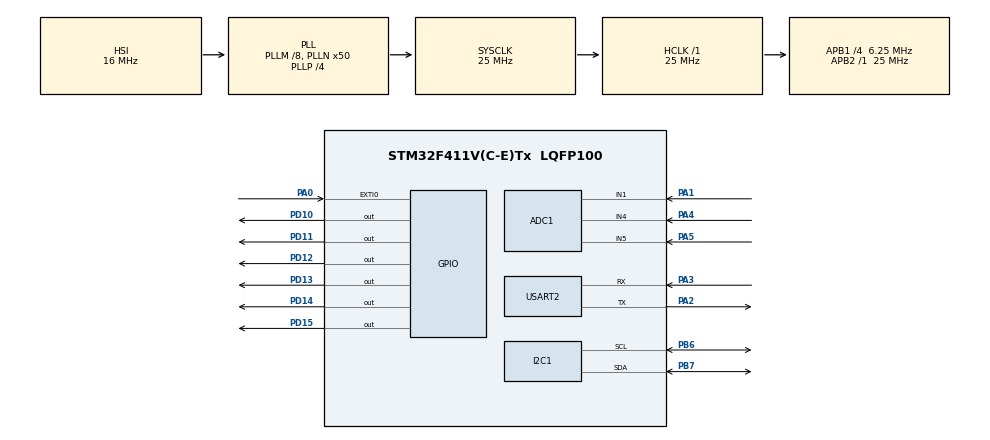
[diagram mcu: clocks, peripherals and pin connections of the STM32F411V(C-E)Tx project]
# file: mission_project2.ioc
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ADC1.Channel-0\#ChannelRegularConversion=ADC_CHANNEL_5
ADC1.Channel-2\#ChannelRegularConversion=ADC_CHANNEL_1
ADC1.Channel-3\#ChannelRegularConversion=ADC_CHANNEL_4
ADC1.ContinuousConvMode=ENABLE
ADC1.NbrOfConversion=3
ADC1.NbrOfConversionFlag=1
ADC1.Rank-0\#ChannelRegularConversion=1
ADC1.Rank-2\#ChannelRegularConversion=2
ADC1.Rank-3\#ChannelRegularConversion=3
ADC1.SamplingTime-0\#ChannelRegularConversion=ADC_SAMPLETIME_3CYCLES
ADC1.SamplingTime-2\#ChannelRegularConversion=ADC_SAMPLETIME_3CYCLES
ADC1.SamplingTime-3\#ChannelRegularConversion=ADC_SAMPLETIME_3CYCLES
ADC1.ScanConvMode=ENABLE
ADC1.master=1
Mcu.Family=STM32F4
Mcu.Name=STM32F411V(C-E)Tx
Mcu.Package=LQFP100
NVIC.EXTI0_IRQn=true\:0\:0\:true\:false\:true\:true\:true\:true
NVIC.PriorityGroup=NVIC_PRIORITYGROUP_0
NVIC.USART2_IRQn=true\:0\:0\:false\:false\:true\:true\:true\:true
PA0-WKUP.GPIO_ModeDefaultEXTI=GPIO_MODE_IT_FALLING
PA0-WKUP.Signal=GPXTI0
PA1.Signal=ADCx_IN1
PA2.Mode=Asynchronous
PA2.Signal=USART2_TX
PA3.Mode=Asynchronous
PA3.Signal=USART2_RX
PA4.Signal=ADCx_IN4
PA5.Signal=ADCx_IN5
PB6.Mode=I2C
PB6.Signal=I2C1_SCL
PB7.Mode=I2C
PB7.Signal=I2C1_SDA
PD10.Signal=GPIO_Output
PD11.Signal=GPIO_Output
PD12.Signal=GPIO_Output
PD13.Signal=GPIO_Output
PD14.Signal=GPIO_Output
PD15.Signal=GPIO_Output
PH0\ -\ OSC_IN.Mode=HSE-External-Oscillator
PH0\ -\ OSC_IN.Signal=RCC_OSC_IN
PH1\ -\ OSC_OUT.Mode=HSE-External-Oscillator
PH1\ -\ OSC_OUT.Signal=RCC_OSC_OUT
ProjectManager.HeapSize=0x200
ProjectManager.StackSize=0x400
ProjectManager.TargetToolchain=STM32CubeIDE
RCC.48MHZClocksFreq_Value=12500000
RCC.AHBFreq_Value=25000000
RCC.APB1CLKDivider=RCC_HCLK_DIV4
RCC.APB1Freq_Value=6250000
RCC.APB1TimFreq_Value=12500000
RCC.APB2Freq_Value=25000000
RCC.APB2TimFreq_Value=25000000
RCC.CortexFreq_Value=25000000
RCC.HCLKFreq_Value=25000000
RCC.HSE_VALUE=8000000
RCC.HSI_VALUE=16000000
RCC.LSE_VALUE=32768
RCC.PLLI2SM=5
RCC.PLLI2SN=200
RCC.PLLM=8
RCC.PLLN=50
RCC.PLLP=RCC_PLLP_DIV4
RCC.PLLQ=8
RCC.SYSCLKFreq_VALUE=25000000
RCC.SYSCLKSource=RCC_SYSCLKSOURCE_PLLCLK
RCC.VCOOutputFreq_Value=100000000
SH.ADCx_IN1.0=ADC1_IN1,IN1
SH.ADCx_IN4.0=ADC1_IN4,IN4
SH.ADCx_IN5.0=ADC1_IN5,IN5
USART2.VirtualMode=VM_ASYNC
board=STM32F411E-DISCO

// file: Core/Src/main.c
/* USER CODE BEGIN Header */
/**
  ******************************************************************************
  * @file           : main.c
  * @brief          : Main program body
  ******************************************************************************
  * @attention
  *
  * Copyright (c) 2025 STMicroelectronics.
  * All rights reserved.
  *
  * This software is licensed under terms that can be found in the LICENSE file
  * in the root directory of this software component.
  * If no LICENSE file comes with this software, it is provided AS-IS.
  *
  ******************************************************************************
  */
/* USER CODE END Header */
#include "main.h"
#include "adc.h"
#include "i2c.h"
#include "usart.h"
#include "gpio.h"

/* USER CODE BEGIN Includes */
#include "stdio.h"
#include <stdlib.h>  // Pour atoi()
#include <string.h>
#include "bmp280.h"
#include "i2c_lcd.h"

I2C_LCD_HandleTypeDef lcd1;
/* USER CODE END Includes */

/* USER CODE BEGIN PTD */
int __io_putchar(int ch)
{
    HAL_UART_Transmit(&huart2, (uint8_t *)&ch, 1, HAL_MAX_DELAY);
    return ch;
}

void init_lcds(void) {
	lcd1.hi2c = &hi2c1;     // hi2c1 is your I2C handler
	lcd1.address = 0x27 << 1;    // I2C address for the first LCD
	lcd_init(&lcd1);        // Initialize the first LCD
}

uint32_t adc_read_channel(uint32_t chanel)
{
  /*get the adc hundel*/
  ADC_HandleTypeDef *hadc1 = get_adc_hundle();
  uint32_t adc_value;

  /*select channel manualy without scan mode*/
  ADC_ChannelConfTypeDef sConfig = {0};
  sConfig.Channel = chanel;
  sConfig.Rank = 1;
  sConfig.SamplingTime = ADC_SAMPLETIME_3CYCLES;
  if (HAL_ADC_ConfigChannel(hadc1, &sConfig) != HAL_OK)
  {
    Error_Handler();
  }

  /*start the adc*/
  if (HAL_ADC_Start(hadc1) != HAL_OK)
  {
    Error_Handler();
  }
	if (HAL_ADC_PollForConversion(hadc1, HAL_MAX_DELAY) == HAL_OK)
	{
	  adc_value = HAL_ADC_GetValue(hadc1);  // Read value
	  // For debugging, you can output this via UART or LED logic
	}
  else
  {
    Error_Handler();
  }
  HAL_ADC_Stop(hadc1);
  return adc_value;
}
const char* is_gaz_f(uint8_t gaz)
{
    if (gaz == 0)
    {
        return "No gaz detected";
    }
    else
    {
        return "Gaz detected";
    }
}

const char* is_flame_f(uint8_t flame)
{
    if (flame == 0)
    {
        return "No flame detected";
    }
    else
    {
        return "Flame detected";
    }
}
uint8_t lcd_select = 0;

void HAL_GPIO_EXTI_Callback(uint16_t GPIO_Pin)
{
	lcd_select++;
}

static void EXTILine0_Config(void)
{
  GPIO_InitTypeDef   GPIO_InitStructure;

  /* Enable GPIOA clock */
  __HAL_RCC_GPIOA_CLK_ENABLE();

  /* Configure PA0 pin as input floating */
  GPIO_InitStructure.Mode = GPIO_MODE_IT_FALLING;
  GPIO_InitStructure.Pull = GPIO_NOPULL;
  GPIO_InitStructure.Pin = GPIO_PIN_0;
  HAL_GPIO_Init(GPIOA, &GPIO_InitStructure);

  /* Enable and set EXTI Line0 Interrupt to the lowest priority */
  HAL_NVIC_SetPriority(EXTI0_IRQn, 2, 0);
  HAL_NVIC_EnableIRQ(EXTI0_IRQn);
}

#define RX_BUF_SIZE 16

uint8_t  uart_byte;                       // pour réception 1 octet
uint8_t  uart_rx_buffer[RX_BUF_SIZE];     // buffer de reconstruction
uint8_t  rx_index = 0;
uint32_t co2 = 0;

void HAL_UART_RxCpltCallback(UART_HandleTypeDef *huart)
{
    if (huart->Instance == USART2)
    {
        // Stocke l'octet et avance l'index
        uart_rx_buffer[rx_index++] = uart_byte;

        // Si fin de trame (\n) ou buffer plein :
        if (uart_byte == '\n' || rx_index >= RX_BUF_SIZE-1)
        {
            uart_rx_buffer[rx_index] = '\0';   // termine la chaîne
            co2 = atoi((char*)uart_rx_buffer); // convertit

            // vidage pour prochaine réception
            rx_index = 0;
            memset(uart_rx_buffer, 0, RX_BUF_SIZE);

            // indication visuelle
            HAL_GPIO_TogglePin(GPIOD, GPIO_PIN_12);
        }

        // Relance toujours la réception d’1 octet
        HAL_UART_Receive_IT(&huart2, &uart_byte, 1);
    }
}
BMP280_HandleTypedef bmp280;

float pressure, temperature, humidity;

uint8_t is_gaz = 0;
uint8_t is_flame = 0;
uint8_t button = 0;

/* USER CODE END PTD */

void SystemClock_Config(void);

int main(void)
{

  /* MCU Configuration--------------------------------------------------------*/

  /* Reset of all peripherals, Initializes the Flash interface and the Systick. */
  HAL_Init();

  /* Configure the system clock */
  SystemClock_Config();

  /* Initialize all configured peripherals */
  MX_GPIO_Init();
  MX_ADC1_Init();
  MX_USART2_UART_Init();
  MX_I2C1_Init();
  /* USER CODE BEGIN 2 */
  init_lcds();
  lcd_clear(&lcd1);

  uint32_t gaz_adc_value = 0;
  uint32_t flame_adc_value = 0;
	bmp280_init_default_params(&bmp280.params);
	bmp280.addr = BMP280_I2C_ADDRESS_0;
	bmp280.i2c = &hi2c1;

  	if (!bmp280_init(&bmp280, &bmp280.params))
  	{
  		Error_Handler();
		HAL_Delay(2000);
	}
	bool bme280p = bmp280.id == BME280_CHIP_ID;

	printf("BMP280: found %s\n", bme280p ? "BME280" : "BMP280");
	EXTILine0_Config();
	// Lancement de la 1ʳᵉ réception 1 octet
	HAL_UART_Receive_IT(&huart2, &uart_byte, 1);

  /* USER CODE END 2 */

  /* Infinite loop */
  /* USER CODE BEGIN WHILE */
  while (1)
  {

  gaz_adc_value = adc_read_channel(ADC_CHANNEL_4);
  flame_adc_value = adc_read_channel(ADC_CHANNEL_1);

	while (!bmp280_read_float(&bmp280, &temperature, &pressure, &humidity))
	{
		printf("Temperature/pressure reading failed\n");
		HAL_Delay(2000);
	}
	if(gaz_adc_value > 1000)
	{

		HAL_GPIO_WritePin(GPIOD, GPIO_PIN_15, GPIO_PIN_SET);
		is_gaz = 1;
	}
	else
	{
		HAL_GPIO_WritePin(GPIOD, GPIO_PIN_15, GPIO_PIN_RESET);
		is_gaz = 0;
	}

	if(flame_adc_value < 1000)
	{
		HAL_GPIO_WritePin(GPIOD, GPIO_PIN_13, GPIO_PIN_SET);
		is_flame = 1;
	}
	else
	{
		HAL_GPIO_WritePin(GPIOD, GPIO_PIN_13, GPIO_PIN_RESET);
		is_flame = 0;
	}

	switch (lcd_select)
	{
	    case 1:
			LCD_PrintfAt(&lcd1,0, 0,"pres %.2f hpa",pressure/100);
			LCD_PrintfAt(&lcd1,0, 1,"temp %.2f C",temperature);
	        break;
	    case 0:
			LCD_PrintfAt(&lcd1,0, 0,"hum %.2f\%",humidity);
			LCD_PrintfAt(&lcd1,0, 1,"CO2 %d ppm",co2);
	        break;
	    case 2:
			LCD_PrintfAt(&lcd1,0, 0,is_gaz_f(is_gaz));
			LCD_PrintfAt(&lcd1,0, 1,is_flame_f(is_flame));
	        break;

	    default:
	    	lcd_select = 0;
	}

   printf("{\"pressure\": %.2f, \"temperature\": %.2f, \"humidity\": %.2f, \"gaz\": %u, \"flame\": %u}\n",
	       pressure/100.0, temperature, humidity, is_gaz, is_flame);

	HAL_Delay(1000);
	lcd_clear(&lcd1);

    /* USER CODE END WHILE */

  }
}

void SystemClock_Config(void)
{
  RCC_OscInitTypeDef RCC_OscInitStruct = {0};
  RCC_ClkInitTypeDef RCC_ClkInitStruct = {0};

  /** Configure the main internal regulator output voltage
  */
  __HAL_RCC_PWR_CLK_ENABLE();
  __HAL_PWR_VOLTAGESCALING_CONFIG(PWR_REGULATOR_VOLTAGE_SCALE1);

  /** Initializes the RCC Oscillators according to the specified parameters
  * in the RCC_OscInitTypeDef structure.
  */
  RCC_OscInitStruct.OscillatorType = RCC_OSCILLATORTYPE_HSI;
  RCC_OscInitStruct.HSIState = RCC_HSI_ON;
  RCC_OscInitStruct.HSICalibrationValue = RCC_HSICALIBRATION_DEFAULT;
  RCC_OscInitStruct.PLL.PLLState = RCC_PLL_ON;
  RCC_OscInitStruct.PLL.PLLSource = RCC_PLLSOURCE_HSI;
  RCC_OscInitStruct.PLL.PLLM = 8;
  RCC_OscInitStruct.PLL.PLLN = 50;
  RCC_OscInitStruct.PLL.PLLP = RCC_PLLP_DIV4;
  RCC_OscInitStruct.PLL.PLLQ = 8;
  if (HAL_RCC_OscConfig(&RCC_OscInitStruct) != HAL_OK)
  {
    Error_Handler();
  }

  /** Initializes the CPU, AHB and APB buses clocks
  */
  RCC_ClkInitStruct.ClockType = RCC_CLOCKTYPE_HCLK|RCC_CLOCKTYPE_SYSCLK
                              |RCC_CLOCKTYPE_PCLK1|RCC_CLOCKTYPE_PCLK2;
  RCC_ClkInitStruct.SYSCLKSource = RCC_SYSCLKSOURCE_PLLCLK;
  RCC_ClkInitStruct.AHBCLKDivider = RCC_SYSCLK_DIV1;
  RCC_ClkInitStruct.APB1CLKDivider = RCC_HCLK_DIV4;
  RCC_ClkInitStruct.APB2CLKDivider = RCC_HCLK_DIV1;

  if (HAL_RCC_ClockConfig(&RCC_ClkInitStruct, FLASH_LATENCY_0) != HAL_OK)
  {
    Error_Handler();
  }
}

void Error_Handler(void)
{
  /* USER CODE BEGIN Error_Handler_Debug */
  /* User can add his own implementation to report the HAL error return state */
	HAL_GPIO_WritePin(GPIOD, GPIO_PIN_14, GPIO_PIN_SET);
  while (1)
  {
  }
  /* USER CODE END Error_Handler_Debug */
}
